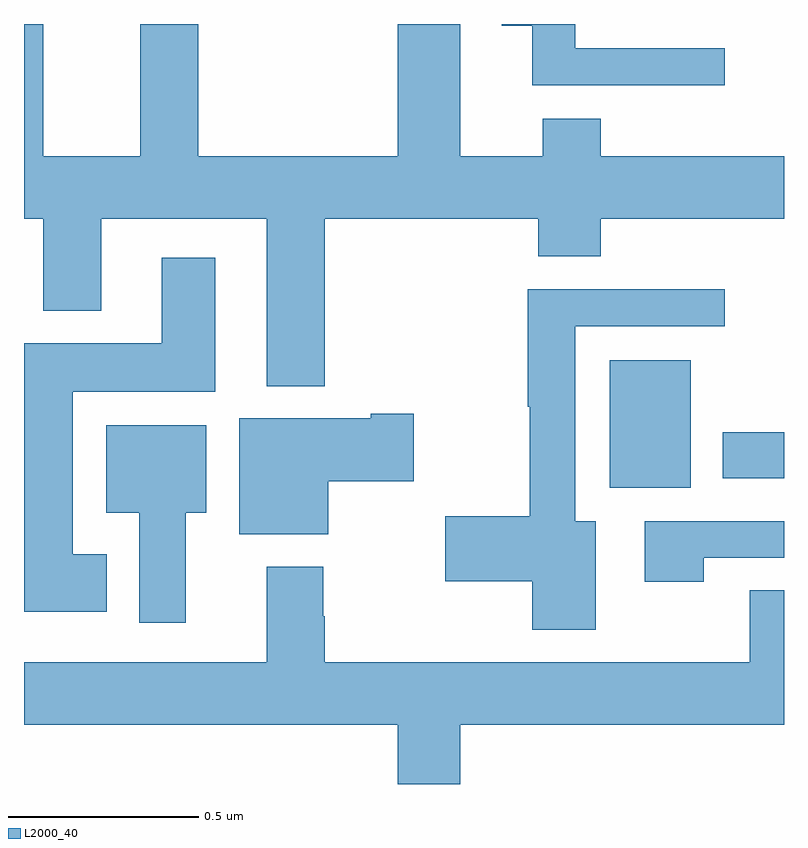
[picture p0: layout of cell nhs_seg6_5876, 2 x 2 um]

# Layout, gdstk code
import gdstk
lib = gdstk.Library(unit=1e-6, precision=1e-09)
def R(c, l, rs):  # rectangles x0, y0, x1, y1
    for r in rs: c.add(gdstk.rectangle(r[:2], r[2:], *l))
def P(c, l, *ps):  # polygons
    for p in ps: c.add(gdstk.Polygon(p, *l))
L2000_40 = (2000, 40)

nhs_seg6_5876 = lib.new_cell('nhs_seg6_5876')
R(nhs_seg6_5876, L2000_40, [(189.542,961.28,189.754,961.615), (189.839,961.304,190,961.426)])
P(nhs_seg6_5876, L2000_40, [(188.792,961.988),(189.353,961.988),(189.353,961.889),(189.518,961.889),(189.518,961.988),(190,961.988),(190,962.152),(189.518,962.152),(189.518,962.251),(189.365,962.251),(189.365,962.152),(189.148,962.152),(189.148,962.5),(188.984,962.5),(188.984,962.152),(188.459,962.152),(188.459,962.5),(188.306,962.5),(188.306,962.152),(188.05,962.152),(188.05,962.5),(188,962.5),(188,961.988),(188.051,961.988),(188.051,961.745),(188.203,961.745),(188.203,961.988),(188.639,961.988),(188.639,961.547),(188.792,961.547)],
  [(189.844,962.436),(189.451,962.436),(189.451,962.5),(189.257,962.5),(189.257,962.495),(189.338,962.495),(189.338,962.339),(189.844,962.339)],
  [(188.218,961.105),(188.128,961.105),(188.128,961.532),(188.503,961.532),(188.503,961.885),(188.363,961.885),(188.363,961.66),(188,961.66),(188,960.953),(188.218,960.953)],
  [(189.505,961.192),(189.451,961.192),(189.451,961.704),(189.844,961.704),(189.844,961.802),(189.326,961.802),(189.326,961.493),(189.331,961.493),(189.331,961.205),(189.108,961.205),(189.108,961.034),(189.338,961.034),(189.338,960.906),(189.505,960.906)],
  [(188.8,961.297),(189.025,961.297),(189.025,961.475),(188.912,961.475),(188.912,961.462),(188.567,961.462),(188.567,961.157),(188.8,961.157)],
  [(188.425,961.214),(188.479,961.214),(188.479,961.444),(188.216,961.444),(188.216,961.214),(188.303,961.214),(188.303,960.924),(188.425,960.924)],
  [(189.789,961.095),(190,961.095),(190,961.191),(189.633,961.191),(189.633,961.032),(189.789,961.032)],
  [(189.148,960.656),(190,960.656),(190,961.01),(189.91,961.01),(189.91,960.82),(188.792,960.82),(188.792,960.941),(188.787,960.941),(188.787,961.072),(188.639,961.072),(188.639,960.82),(188,960.82),(188,960.656),(188.984,960.656),(188.984,960.5),(189.148,960.5)])

lib.write_gds('nhs_seg6_5876.gds')
